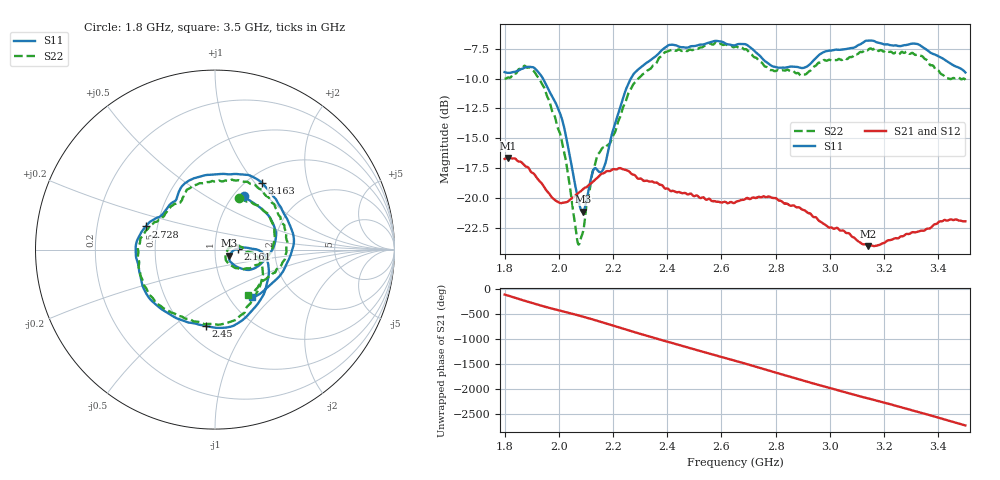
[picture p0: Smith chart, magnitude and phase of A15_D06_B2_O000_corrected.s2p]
! Created with skrf 1.9.0 (http://scikit-rf.org).
# Hz S RI R 50.0
!freq ReS11 ImS11 ReS21 ImS21 ReS12 ImS12 ReS22 ImS22
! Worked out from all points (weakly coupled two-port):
!   1601 points, 1.8 GHz to 3.5 GHz, reference 50 ohm
!   highest |S21| = -16.65 dB at 1.812 GHz (marker M1); lowest = -24.1 dB at 3.142 GHz (marker M2)
!   lowest |S11| = -21.2 dB at 2.088 GHz (marker M3), VSWR 1.19, Z = 58.6 - j3.97 ohm
!   |S11| at or under -10 dB: 1.942 GHz to 2.266 GHz (323.9 MHz wide, 15.4 % of centre)
!   |S22| runs from -23.9 to -7.0 dB; largest |S21 - S12| = 0.0025
!   S11 on the Smith chart (normalised r, x): 1.8 GHz: 1.12, +0.75; 2.161 GHz: 1.30, +0.01; 2.45 GHz: 0.63, -0.66; 2.728 GHz: 0.43, +0.13; 3.163 GHz: 1.15, +1.09; 3.5 GHz: 1.27, -0.76
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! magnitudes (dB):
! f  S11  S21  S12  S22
! 1.8 GHz  -9.5  -16.7  -16.7  -10.0
! 1.812 GHz  -9.5  -16.7  -16.7  -9.9
! 1.88 GHz  -9.0  -17.4  -17.4  -9.0
! 1.942 GHz  -10.0  -19.0  -19.0  -10.6
! 2.011 GHz  -13.4  -20.4  -20.4  -15.3
! 2.067 GHz  -19.7  -19.7  -19.7  -23.4
! 2.084 GHz  -21.1  -19.4  -19.4  -23.2
! 2.088 GHz  -21.2  -19.3  -19.3  -23.0
! 2.127 GHz  -17.7  -18.6  -18.6  -17.6
! 2.161 GHz  -17.7  -18.0  -17.9  -15.8
! 2.261 GHz  -10.2  -17.8  -17.8  -11.0
! 2.367 GHz  -7.9  -18.8  -18.8  -8.3
! 2.45 GHz  -7.4  -19.6  -19.6  -7.7
! 2.65 GHz  -7.2  -20.4  -20.4  -7.3
! 2.728 GHz  -7.8  -20.0  -20.0  -8.2
! 2.806 GHz  -9.1  -20.1  -20.1  -9.3
! 2.934 GHz  -8.6  -21.5  -21.5  -9.2
! 3.142 GHz  -6.8  -24.1  -24.0  -7.6
! 3.163 GHz  -6.8  -24.1  -24.0  -7.5
! 3.217 GHz  -7.2  -23.6  -23.5  -7.8
! 3.324 GHz  -7.1  -22.9  -22.8  -8.0
! 3.5 GHz  -9.5  -22.0  -22.0  -10.1
